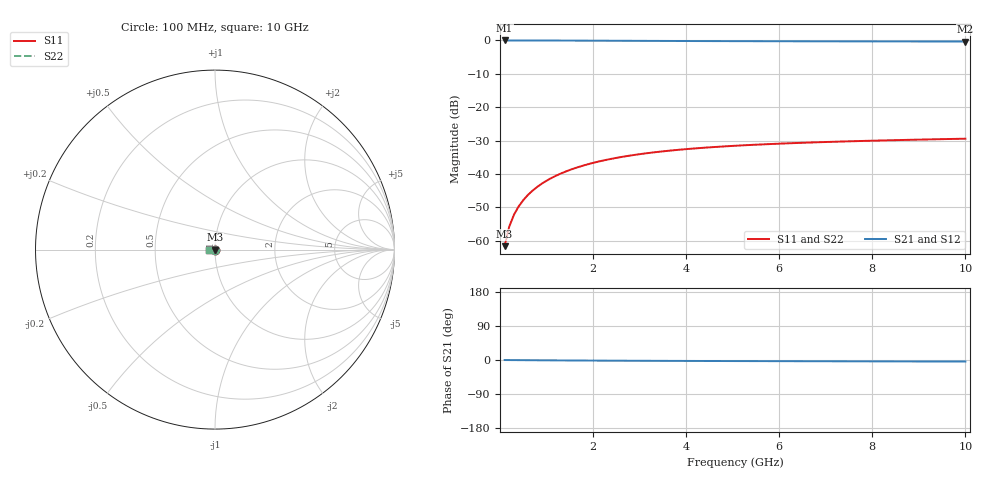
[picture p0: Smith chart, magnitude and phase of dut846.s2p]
! Touchstone file exported from HFSS 2024.1.0
!  File:  C:/UserFiles/LocalFiles/RDL_TSV_Batchsim/temp_TSV1_846_1779880608.aedt
!  Generated:  07:22:19 PM May 27, 2026
!  Design:  TSV1
!  Project:  temp_TSV1_846_1779880608
!  Setup:  Setup1
!  Solution:  Sweep
! Variables:
!  dtsv = 7.85um
!  hbump = 3um
!  htsv = 63.18um
!  lrdl = 252.1521522um
!  p = 40
!  p1 = 40.47um
!  t = 500um
!  trdl = 3um
!  wrdl = 24.89489489um
# GHz S MA R 50.000000
! Terminal data exported
! Port[1] = TSV22_T1
! Port[2] = TSV22_T2
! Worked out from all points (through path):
!   100 points, 100 MHz to 10 GHz, reference 50 ohm
!   highest |S21| = 0.00 dB at 100 MHz (marker M1); lowest = -0.3 dB at 10 GHz (marker M2)
!   lowest |S11| = -61.7 dB at 100 MHz (marker M3), VSWR 1.00, Z = 50 - j0.0805 ohm
!   |S11| at or under -10 dB: start of sweep to end of sweep
!   |S22| runs from -61.7 to -29.5 dB; largest |S21 - S12| = 4e-15
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0.1  0.0008254 -77.2  0.9998 -0.1  0.9998 -0.1  0.0008254 -77.2
! Gamma 0 0 0 0
! Port Impedance 50 0 50 0
0.2  0.001629 -85.8  0.9997 -0.2  0.9997 -0.2  0.001629 -85.8
0.3  0.002435 -89.8  0.9996 -0.3  0.9996 -0.3  0.002435 -89.8
0.4  0.003238 -92.7  0.9994 -0.4  0.9994 -0.4  0.003238 -92.7
0.5  0.004035 -95.1  0.9992 -0.4  0.9992 -0.4  0.004035 -95.1
0.6  0.004826 -97.2  0.9989 -0.5  0.9989 -0.5  0.004826 -97.2
0.7  0.005609 -99.1  0.9986 -0.6  0.9986 -0.6  0.005609 -99.1
0.8  0.006382 -101.0  0.9983 -0.7  0.9983 -0.7  0.006382 -101.0
0.9  0.007144 -102.8  0.9979 -0.8  0.9979 -0.8  0.007144 -102.8
1.1  0.008633 -106.1  0.9971 -0.9  0.9971 -0.9  0.008633 -106.1
1.4  0.01077 -110.9  0.9956 -1.2  0.9956 -1.2  0.01077 -110.9
1.6  0.01211 -114.0  0.9945 -1.3  0.9945 -1.3  0.01211 -114.0
1.8  0.01339 -116.9  0.9934 -1.4  0.9934 -1.4  0.01339 -116.9
2.1  0.0152 -121.1  0.9916 -1.6  0.9916 -1.6  0.0152 -121.1
2.5  0.01737 -126.3  0.9891 -1.8  0.9891 -1.8  0.01737 -126.3
2.9  0.0193 -131.1  0.9867 -2.0  0.9867 -2.0  0.0193 -131.1
3.4  0.02139 -136.5  0.9838 -2.2  0.9838 -2.2  0.02139 -136.5
4.2  0.02412 -144.3  0.9796 -2.5  0.9796 -2.5  0.02412 -144.3
5.1  0.0265 -151.7  0.9758 -2.8  0.9758 -2.8  0.0265 -151.7
6.7  0.02958 -162.5  0.9706 -3.3  0.9706 -3.3  0.02958 -162.5
8.4  0.03193 -171.7  0.9669 -3.7  0.9669 -3.7  0.03193 -171.7
10  0.03369 -178.9  0.9644 -4.1  0.9644 -4.1  0.03369 -178.9
